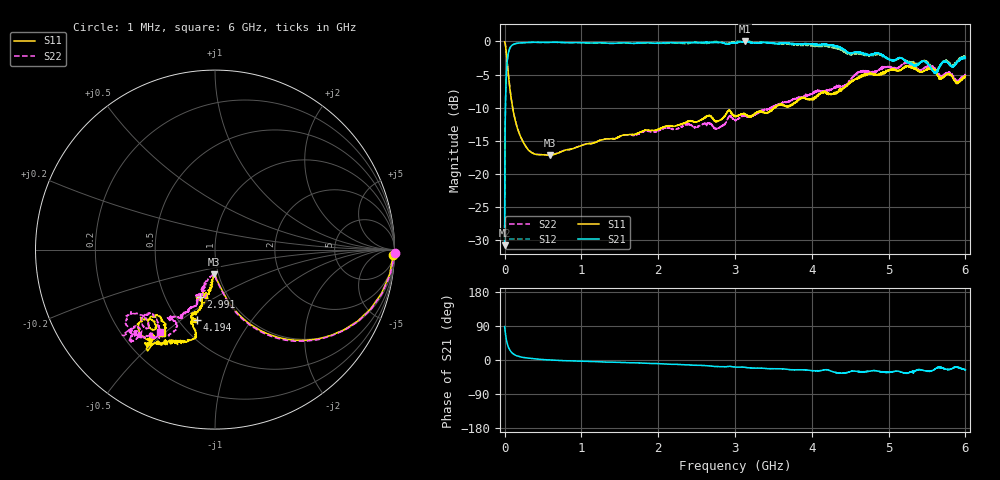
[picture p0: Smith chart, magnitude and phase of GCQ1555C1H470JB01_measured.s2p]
# GHZ S RI R 50.000000000000
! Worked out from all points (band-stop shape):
!   4501 points, 1 MHz to 6 GHz, reference 50 ohm
!   highest |S21| = 0.03 dB at 3.127 GHz (marker M1); lowest = -30.7 dB at 1 MHz (marker M2)
!   |S21| within 3 dB of the highest: 35.25 MHz to 5.218 GHz (5.183 GHz wide, 197 % of centre); 5.921 GHz to end of sweep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
!   lowest |S11| = -17.2 dB at 586.2 MHz (marker M3), VSWR 1.32, Z = 47.7 - j13.4 ohm
!   |S11| at or under -10 dB: 105.8 MHz to 3.511 GHz (3.405 GHz wide, 188 % of centre); 3.511605 GHz to 3.514577 GHz (2.973 MHz wide, 0.0846 % of centre); 3.516014 GHz to 3.516966 GHz (952.1 kHz wide, 0.0271 % of centre)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
!   |S22| runs from -17.2 to 0.0 dB; largest |S21 - S12| = 0.069
!   S11 on the Smith chart (normalised r, x): 1 MHz: 14, -61; 2.991 GHz: 0.75, -0.43; 4.194 GHz: 0.62, -0.57; 6 GHz: 0.37, -0.49
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0.001  0.9926 -0.0307  0.000986 0.029  -0.000663 0.0286  1.003 -0.0206
0.03432778  0.4871 -0.5068  0.5046 0.4875  0.4999 0.4889  0.4845 -0.5106
0.06898867  0.184 -0.4063  0.7983 0.3922  0.7969 0.3926  0.1803 -0.4099
0.1463091  0.0467 -0.2405  0.9429 0.2042  0.942 0.204  0.0448 -0.242
0.2582904  0.00989 -0.1678  0.9732 0.1067  0.9727 0.1062  0.00727 -0.1684
0.5862358  -0.0049 -0.1383  0.9842 0.00581  0.9843 0.00919  -0.014 -0.1385
1.002166  -0.011 -0.1639  0.9772 -0.0594  0.9776 -0.0536  -0.0323 -0.162
2.002  -0.0257 -0.2153  0.9581 -0.1604  0.9584 -0.1432  -0.0577 -0.2038
2.991168  -0.0812 -0.2635  0.9271 -0.3061  0.9513 -0.2896  -0.0717 -0.2481
3.0005  -0.0815 -0.2637  0.928 -0.3106  0.9541 -0.2929  -0.0732 -0.2449
3.127146  -0.1048 -0.2642  0.947 -0.3306  0.9689 -0.3062  -0.106 -0.2556
4.001666  -0.1123 -0.348  0.8455 -0.4477  0.8211 -0.4299  -0.1789 -0.3621
4.193634  -0.1004 -0.3896  0.8511 -0.4124  0.8219 -0.4069  -0.1984 -0.3853
4.353608  -0.1292 -0.4059  0.7488 -0.5165  0.73 -0.4835  -0.2475 -0.3844
4.528245  -0.1075 -0.4902  0.7165 -0.3974  0.6993 -0.3867  -0.2519 -0.4723
4.840193  -0.2376 -0.5073  0.7167 -0.3894  0.7009 -0.3769  -0.3599 -0.4693
5.0015  -0.304 -0.5215  0.6182 -0.3956  0.6237 -0.3905  -0.4437 -0.4672
5.497417  -0.3589 -0.5023  0.6003 -0.3382  0.6131 -0.333  -0.4336 -0.4751
5.644059  -0.388 -0.389  0.5702 -0.203  0.5922 -0.2169  -0.4519 -0.356
5.756041  -0.343 -0.4455  0.6339 -0.2921  0.6585 -0.2781  -0.3765 -0.4394
5.873354  -0.3274 -0.3677  0.6397 -0.2186  0.6556 -0.2019  -0.3681 -0.3567
6  -0.2945 -0.4658  0.678 -0.3288  0.7128 -0.3023  -0.3067 -0.4616
